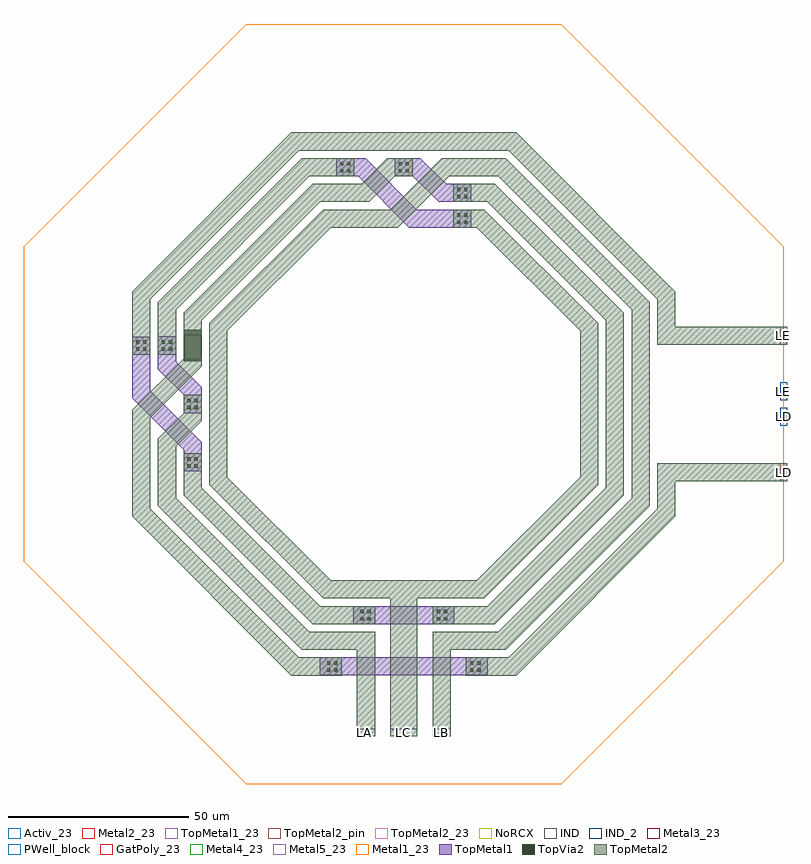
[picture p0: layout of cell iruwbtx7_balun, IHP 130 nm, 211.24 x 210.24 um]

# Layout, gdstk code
import gdstk
lib = gdstk.Library(unit=1e-6, precision=1e-09)
def R(c, l, rs):  # rectangles x0, y0, x1, y1
    for r in rs: c.add(gdstk.rectangle(r[:2], r[2:], *l))
def P(c, l, *ps):  # polygons
    for p in ps: c.add(gdstk.Polygon(p, *l))
Activ_23 = (1, 23)
GatPoly_23 = (5, 23)
Metal1_23 = (8, 23)
Metal2_23 = (10, 23)
IND = (27, 0)
IND_2 = (27, 2)
Metal3_23 = (30, 23)
PWell_block = (46, 21)
Metal4_23 = (50, 23)
Metal5_23 = (67, 23)
TopMetal1 = (126, 0)
TopMetal1_23 = (126, 23)
TopVia2 = (133, 0)
TopMetal2 = (134, 0)
TopMetal2_pin = (134, 2)
TopMetal2_23 = (134, 23)
NoRCX = (148, 0)

iruwbtx7_balun = lib.new_cell('iruwbtx7_balun')
P(iruwbtx7_balun, Activ_23, [(61.58,0),(0,61.58),(0,148.66),(61.58,210.24),(148.66,210.24),(210.24,148.66),(210.24,61.58),(148.66,0)])
P(iruwbtx7_balun, GatPoly_23, [(61.58,0),(0,61.58),(0,148.66),(61.58,210.24),(148.66,210.24),(210.24,148.66),(210.24,61.58),(148.66,0)])
P(iruwbtx7_balun, Metal1_23, [(61.58,0),(0,61.58),(0,148.66),(61.58,210.24),(148.66,210.24),(210.24,148.66),(210.24,61.58),(148.66,0)])
P(iruwbtx7_balun, Metal2_23, [(61.58,0),(0,61.58),(0,148.66),(61.58,210.24),(148.66,210.24),(210.24,148.66),(210.24,61.58),(148.66,0)])
P(iruwbtx7_balun, IND, [(61.58,0),(0,61.58),(0,148.66),(61.58,210.24),(148.66,210.24),(210.24,148.66),(210.24,61.58),(148.66,0)])
R(iruwbtx7_balun, IND_2, [(92.19,13.22,97.19,15.22), (101.39,13.22,108.89,15.22), (113.09,13.22,118.09,15.22), (209.24,99.07,211.24,104.07), (209.24,106.17,211.24,111.17)])
P(iruwbtx7_balun, Metal3_23, [(61.58,0),(0,61.58),(0,148.66),(61.58,210.24),(148.66,210.24),(210.24,148.66),(210.24,61.58),(148.66,0)])
P(iruwbtx7_balun, PWell_block, [(61.58,0),(0,61.58),(0,148.66),(61.58,210.24),(148.66,210.24),(210.24,148.66),(210.24,61.58),(148.66,0)])
P(iruwbtx7_balun, Metal4_23, [(61.58,0),(0,61.58),(0,148.66),(61.58,210.24),(148.66,210.24),(210.24,148.66),(210.24,61.58),(148.66,0)])
P(iruwbtx7_balun, Metal5_23, [(61.58,0),(0,61.58),(0,148.66),(61.58,210.24),(148.66,210.24),(210.24,148.66),(210.24,61.58),(148.66,0)])
R(iruwbtx7_balun, TopMetal1, [(81.96,30.02,128.31,35.02), (91.16,44.22,119.11,49.22), (44.24,86.452,49.24,91.452), (44.24,102.62,49.24,107.62), (30.02,118.79,35.02,123.79), (37.14,118.79,42.14,123.79), (118.81,153.9,123.81,158.9), (118.81,161.02,123.81,166.02), (86.472,168.12,91.472,173.12), (102.64,168.12,107.64,173.12)])
P(iruwbtx7_balun, TopMetal1, [(106.71,153.9),(92.49,168.12),(89.57,168.12),(89.57,173.12),(94.57,173.12),(108.79,158.9),(119.76,158.9),(119.76,153.9)],
  [(114.76,161.02),(107.64,168.14),(107.64,173.12),(109.74,173.12),(116.84,166.02),(123.81,166.02),(123.81,161.02)],
  [(44.24,89.555),(44.24,92.475),(30.02,106.695),(30.02,119.745),(35.02,119.745),(35.02,108.775),(49.24,94.555),(49.24,89.555)],
  [(44.26,107.625),(37.14,114.745),(37.14,123.795),(42.14,123.795),(42.14,116.825),(49.24,109.725),(49.24,107.625)])
P(iruwbtx7_balun, TopMetal1_23, [(61.58,0),(0,61.58),(0,148.66),(61.58,210.24),(148.66,210.24),(210.24,148.66),(210.24,61.58),(148.66,0)])
R(iruwbtx7_balun, TopVia2, [(83.91,31.09,84.81,31.99), (85.87,31.09,86.77,31.99), (123.51,31.09,124.41,31.99), (125.47,31.09,126.37,31.99), (83.91,33.05,84.81,33.95), (85.87,33.05,86.77,33.95), (123.51,33.05,124.41,33.95), (125.47,33.05,126.37,33.95), (93.11,45.29,94.01,46.19), (95.07,45.29,95.97,46.19), (114.31,45.29,115.21,46.19), (116.27,45.29,117.17,46.19), (93.11,47.25,94.01,48.15), (95.07,47.25,95.97,48.15), (114.31,47.25,115.21,48.15), (116.27,47.25,117.17,48.15), (45.29,87.518,46.19,88.418), (47.25,87.518,48.15,88.418), (45.29,89.478,46.19,90.378), (47.25,89.478,48.15,90.378), (45.29,103.688,46.19,104.588), (47.25,103.688,48.15,104.588), (45.29,105.648,46.19,106.548), (47.25,105.648,48.15,106.548), (44.24,116.99,49.24,125.7), (38.19,119.858,39.09,120.758), (40.15,119.858,41.05,120.758), (31.09,119.86,31.99,120.76), (33.05,119.86,33.95,120.76), (38.19,121.818,39.09,122.718), (40.15,121.818,41.05,122.718), (31.09,121.82,31.99,122.72), (33.05,121.82,33.95,122.72), (119.88,154.97,120.78,155.87), (121.84,154.97,122.74,155.87), (119.88,156.93,120.78,157.83), (121.84,156.93,122.74,157.83), (119.878,162.07,120.778,162.97), (121.838,162.07,122.738,162.97), (119.878,164.03,120.778,164.93), (121.838,164.03,122.738,164.93), (87.538,169.17,88.438,170.07), (89.498,169.17,90.398,170.07), (103.708,169.17,104.608,170.07), (105.668,169.17,106.568,170.07), (87.538,171.13,88.438,172.03), (89.498,171.13,90.398,172.03), (103.708,171.13,104.608,172.03), (105.668,171.13,106.568,172.03)])
R(iruwbtx7_balun, TopMetal2, [(100.54,51.32,109.74,56.32), (37.14,82.07,42.14,91.18), (44.24,82.91,49.24,88.59), (30.02,84.045,35.02,99.045), (44.24,86.45,49.24,91.45), (44.24,102.62,49.24,107.62), (168.14,104.07,173.14,106.17), (84.065,153.9,99.065,158.9), (118.81,153.9,123.81,158.9), (118.81,161.02,123.81,166.02), (86.47,168.12,91.47,173.12), (102.64,168.12,107.64,173.12)])
P(iruwbtx7_balun, TopMetal2, [(37.14,118.79),(37.14,133.295),(76.965,173.12),(91.47,173.12),(91.47,168.12),(79.045,168.12),(42.14,131.215),(42.14,118.79)],
  [(97.68,153.9),(97.68,158.9),(101.4,158.9),(115.62,173.12),(117.72,173.12),(117.72,168.14),(103.48,153.9)],
  [(168.14,106.17),(168.14,131.215),(131.235,168.12),(117.52,168.12),(117.52,173.12),(133.315,173.12),(173.14,133.295),(173.14,106.17)],
  [(113.09,44.22),(113.09,49.22),(128.29,49.22),(161.04,81.97),(161.04,128.27),(128.29,161.02),(118.81,161.02),(118.81,166.02),(130.37,166.02),(166.04,130.35),(166.04,79.89),(130.37,44.22)],
  [(109.74,51.32),(109.74,56.32),(125.345,56.32),(153.93,84.905),(153.93,125.315),(125.345,153.9),(118.81,153.9),(118.81,158.9),(127.425,158.9),(158.93,127.395),(158.93,82.825),(127.425,51.32)],
  [(88.93,161.02),(88.93,166.02),(93.46,166.02),(100.56,173.12),(102.64,173.12),(102.64,168.12),(95.54,161.02)],
  [(37.14,88.915),(37.14,95.525),(44.24,102.625),(49.24,102.625),(49.24,100.545),(42.14,93.445),(42.14,88.915)],
  [(30.02,97.665),(30.02,103.465),(44.26,117.705),(49.24,117.705),(49.24,115.605),(35.02,101.385),(35.02,97.665)],
  [(82.855,51.32),(51.35,82.825),(51.35,127.395),(82.855,158.9),(99.033,158.9),(99.033,153.9),(84.935,153.9),(56.35,125.315),(56.35,84.905),(84.935,56.32),(100.54,56.32),(100.54,51.32)],
  [(30.02,118.79),(30.02,136.24),(74.01,180.23),(136.25,180.23),(180.24,136.24),(180.24,121.48),(175.24,121.48),(175.24,134.16),(134.17,175.23),(76.09,175.23),(35.02,134.16),(35.02,118.79)],
  [(79.91,44.22),(44.24,79.89),(44.24,85.93),(49.24,85.93),(49.24,81.97),(81.99,49.22),(97.19,49.22),(97.19,44.22)],
  [(44.24,124.08),(44.24,130.35),(79.91,166.02),(93.93,166.02),(93.93,161.02),(81.99,161.02),(49.24,128.27),(49.24,124.08)],
  [(76.965,37.12),(37.14,76.945),(37.14,85.93),(42.14,85.93),(42.14,79.025),(79.045,42.12),(97.19,42.12),(97.19,37.12)],
  [(74.01,30.01),(30.02,74),(30.02,85.93),(35.02,85.93),(35.02,76.08),(76.09,35.01),(87.99,35.01),(87.99,30.01)],
  [(113.09,37.12),(113.09,42.12),(131.235,42.12),(168.14,79.025),(168.14,104.07),(173.14,104.07),(173.14,76.945),(133.315,37.12)],
  [(122.29,30.01),(122.29,35.01),(134.17,35.01),(175.24,76.08),(175.24,88.76),(180.24,88.76),(180.24,74),(136.25,30.01)])
R(iruwbtx7_balun, TopMetal2_pin, [(92.19,13.22,97.19,15.22), (101.39,13.22,108.89,15.22), (113.09,13.22,118.09,15.22), (209.24,83.76,211.24,88.76), (209.24,121.48,211.24,126.48)])
P(iruwbtx7_balun, TopMetal2_23, [(61.58,0),(0,61.58),(0,148.66),(61.58,210.24),(148.66,210.24),(210.24,148.66),(210.24,61.58),(148.66,0)])
P(iruwbtx7_balun, NoRCX, [(61.58,0),(0,61.58),(0,148.66),(61.58,210.24),(148.66,210.24),(210.24,148.66),(210.24,61.58),(148.66,0)])
iruwbtx7_balun.add(gdstk.FlexPath([(105.14,13.22),(105.14,56.32)], 7.5, ends="flush", simple_path=True, layer=134, datatype=0))  # TopMetal2
iruwbtx7_balun.add(gdstk.FlexPath([(94.69,13.22),(94.69,42.12)], 5, ends="flush", simple_path=True, layer=134, datatype=0))  # TopMetal2
iruwbtx7_balun.add(gdstk.FlexPath([(115.59,13.22),(115.59,42.12)], 5, ends="flush", simple_path=True, layer=134, datatype=0))  # TopMetal2
iruwbtx7_balun.add(gdstk.FlexPath([(211.24,86.26),(180.24,86.26)], 5, ends="flush", simple_path=True, layer=134, datatype=0))  # TopMetal2
iruwbtx7_balun.add(gdstk.FlexPath([(211.24,123.98),(180.24,123.98)], 5, ends="flush", simple_path=True, layer=134, datatype=0))  # TopMetal2
iruwbtx7_balun.add(gdstk.Label('LE', (210.24,108.67), layer=27, texttype=25))
iruwbtx7_balun.add(gdstk.Label('LD', (210.24,101.57), layer=27, texttype=25))
iruwbtx7_balun.add(gdstk.Label('LC', (105.14,14.22), layer=27, texttype=25))
iruwbtx7_balun.add(gdstk.Label('LA', (94.29,14.219), layer=27, texttype=25))
iruwbtx7_balun.add(gdstk.Label('LB', (115.59,14.219), layer=27, texttype=25))
iruwbtx7_balun.add(gdstk.Label('LB', (115.59,14.24), layer=134, texttype=25))
iruwbtx7_balun.add(gdstk.Label('LC', (105.14,14.241), layer=134, texttype=25))
iruwbtx7_balun.add(gdstk.Label('LA', (94.29,14.24), layer=134, texttype=25))
iruwbtx7_balun.add(gdstk.Label('LD', (210.24,86.26), layer=134, texttype=25))
iruwbtx7_balun.add(gdstk.Label('LE', (210.24,123.98), layer=134, texttype=25))

lib.write_gds('iruwbtx7_balun.gds')
